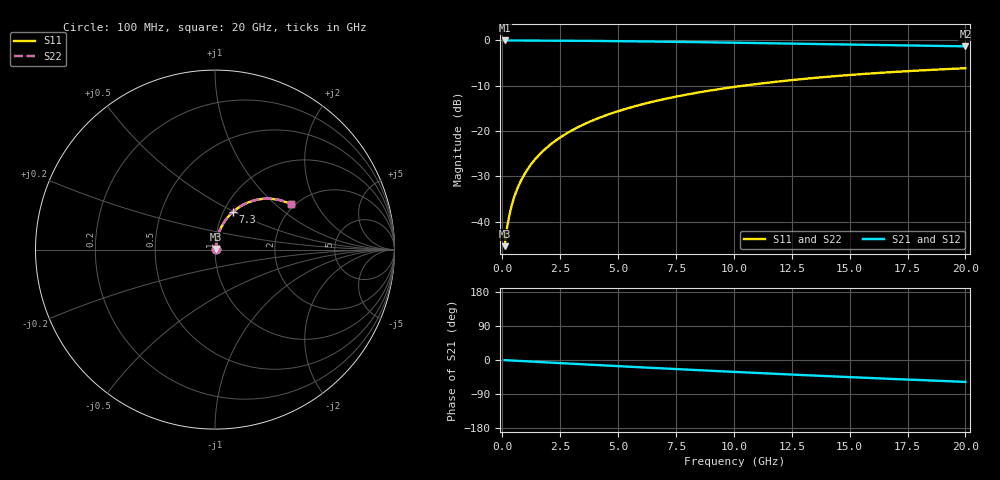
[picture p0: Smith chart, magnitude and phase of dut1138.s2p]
! Touchstone file exported from HFSS 2026.1.0
!  File:  C:/ffzhzh/LocalFiles/Ansys_Project_Files/temp_train_TMRDL_1138_1783161895_51560.aedt
!  Generated:  06:46:26 PM Jul  4, 2026
!  Design:  TMRDL
!  Project:  temp_train_TMRDL_1138_1783161895_51560
! Variables:
!  h_bsmrdl = 2um
!  h_ox = 20um
!  h_rdl = 5um
!  h_sub = 80um
!  h_tmrdl = 3.55um
!  h_tsv = 80um
!  h_via = 3um
!  l_bsmrdl = 300um
!  l_sub = 1288.52um
!  l_tmrdl = 888.52um
!  m_sub = 200um
!  pitch = 54.7um
!  r_tsv = 6um
!  s_tmrdl = 10um
!  w_bsmrdl = 18um
!  w_sub = 500um
!  w_tmrdl = 24.07um
!  x_tsv_center1 = 900.555um
!  x_tsv_center2 = 1218.555um
!  x_tsv_center3 = 2131.145um
!  x_tsv_center4 = 2449.145um
!  x_tsv_center5 = 3361.735um
!  x_tsv_center6 = 3679.735um
# GHz S MA R 50.000000
! Terminal data exported
! Port[1] = TM_RDL1_1_T1
! Port[2] = TM_RDL1_1_T2
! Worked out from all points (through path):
!   200 points, 100 MHz to 20 GHz, reference 50 ohm
!   highest |S21| = -0.03 dB at 100 MHz (marker M1); lowest = -1.3 dB at 20 GHz (marker M2)
!   group delay of S21, straight-line fit = 8.03 ps
!   lowest |S11| = -45.4 dB at 100 MHz (marker M3), VSWR 1.01, Z = 50.4 + j0.374 ohm
!   |S11| at or under -10 dB: start of sweep to 10.42 GHz
!   |S22| runs from -45.4 to -6.2 dB; largest |S21 - S12| = 5.1e-15
!   S11 on the Smith chart (normalised r, x): 100 MHz: 1.01, +0.01; 7.3 GHz: 1.11, +0.49; 20 GHz: 1.91, +1.27
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0.1  0.005384 43.6  0.9961 -0.3  0.9961 -0.3  0.005384 43.6
! Gamma 0 0 0 0
! Port Impedance 50 0 50 0
0.2  0.008412 60.2  0.9959 -0.7  0.9959 -0.7  0.008412 60.2
0.3  0.01166 67.3  0.9956 -1.0  0.9956 -1.0  0.01166 67.3
0.4  0.01494 71.2  0.9954 -1.4  0.9954 -1.4  0.01494 71.2
0.5  0.01822 73.6  0.9952 -1.7  0.9952 -1.7  0.01822 73.6
0.6  0.02152 75.3  0.9951 -2.0  0.9951 -2.0  0.02152 75.3
0.8  0.02815 77.4  0.9948 -2.7  0.9948 -2.7  0.02815 77.4
1.1  0.03817 78.8  0.9943 -3.6  0.9943 -3.6  0.03817 78.8
1.5  0.05158 79.3  0.9935 -4.9  0.9935 -4.9  0.05158 79.3
1.8  0.06163 79.1  0.9928 -5.9  0.9928 -5.9  0.06163 79.1
2.1  0.07166 78.7  0.992 -6.9  0.992 -6.9  0.07166 78.7
2.7  0.09158 77.5  0.99 -8.9  0.99 -8.9  0.09158 77.5
3.5  0.1178 75.5  0.9867 -11.4  0.9867 -11.4  0.1178 75.5
4.2  0.1403 73.5  0.9833 -13.7  0.9833 -13.7  0.1402 73.5
5  0.1654 71.2  0.9788 -16.2  0.9788 -16.2  0.1654 71.2
6.8  0.2194 65.9  0.9669 -21.8  0.9669 -21.8  0.2194 65.9
7.3  0.2337 64.4  0.9633 -23.3  0.9633 -23.3  0.2337 64.5
8.6  0.2696 60.6  0.9532 -27.3  0.9532 -27.3  0.2696 60.7
10.1  0.3083 56.4  0.9407 -31.7  0.9407 -31.7  0.3083 56.4
13.4  0.3833 47.3  0.912 -40.9  0.912 -40.9  0.3833 47.4
16.7  0.4444 38.8  0.8837 -49.6  0.8837 -49.6  0.4444 38.9
20  0.4923 30.8  0.8581 -57.8  0.8581 -57.8  0.4922 30.9
